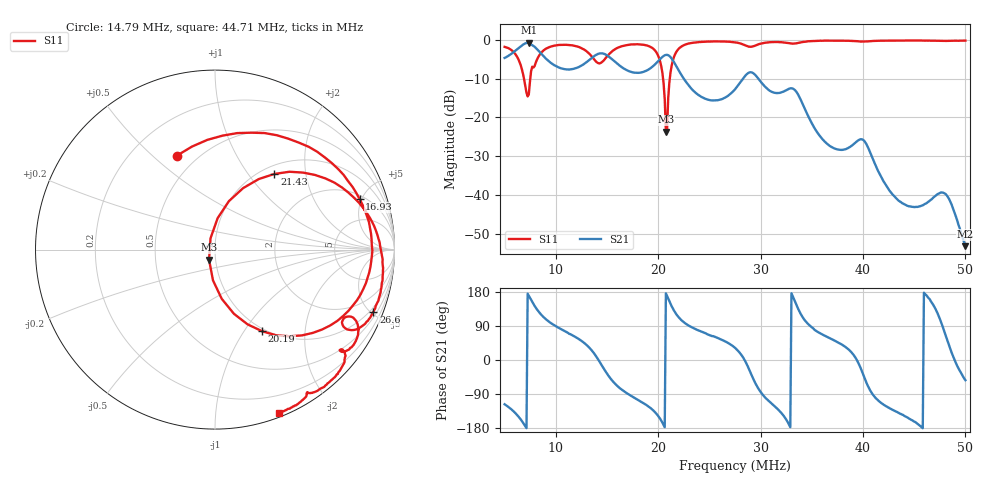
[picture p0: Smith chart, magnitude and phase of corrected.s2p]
! S11/S21 only; reverse parameters are placeholders. Device calibration unverified.
! [Saver CAL applied] C:\Users\aknya\MyProjects\rf-simulator\calibration2.cal | Ideal standards assumed | Input: NanoVNA F V2 profile | COM3 | 2026-09-08T11:04:40.8372414-04:00 | device calibration unverified
# HZ S RI R 50
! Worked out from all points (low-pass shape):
!   401 points, 5 MHz to 50 MHz, reference 50 ohm
!   highest |S21| = -0.71 dB at 7.362 MHz (marker M1); lowest = -53.2 dB at 50 MHz (marker M2)
!   |S21| within 3 dB of the highest: 5.608 MHz to 8.617 MHz (3.009 MHz wide, 42.3 % of centre); 14.07 MHz to 14.8 MHz (731.5 kHz wide, 5.07 % of centre)
!   lowest |S11| = -23.6 dB at 20.75 MHz (marker M3), VSWR 1.14, Z = 46.5 - j5.3 ohm
!   |S11| at or under -10 dB: 6.891 MHz to 7.507 MHz (616 kHz wide, 8.56 % of centre); 20.47 MHz to 21.13 MHz (658.5 kHz wide, 3.17 % of centre)
!   S12 and S22 are empty: the file has one direction only
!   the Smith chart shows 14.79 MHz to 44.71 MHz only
!   S11 on the Smith chart (normalised r, x): 14.79 MHz: 0.39, +0.60; 16.93 MHz: 2.31, +4.80; 20.19 MHz: 0.97, -1.21; 21.43 MHz: 1.14, +1.35; 26.6 MHz: 0.74, -5.15; 44.71 MHz: 0.03, -1.47
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5000000  0.7445 -0.3201  -0.2642 -0.5214  0 0  0 0
7362500  0.1974 0.00455  -0.9067 0.1635  0 0  0 0
9725000  0.8151 -0.1705  -0.0326 0.4814  0 0  0 0
1.25375e7  0.2473 -0.736  0.3014 0.3579  0 0  0 0
1.38875e7  -0.4747 -0.2384  0.6209 0.129  0 0  0 0
1.47875e7  -0.2119 0.5237  0.5811 -0.2988  0 0  0 0
1.6925e7  0.8055 0.2823  0.0184 -0.406  0 0  0 0
1.88375e7  0.8113 -0.2494  -0.1909 -0.3507  0 0  0 0
2.0075e7  0.3415 -0.4778  -0.4746 -0.2679  0 0  0 0
2.01875e7  0.2634 -0.4551  -0.5108 -0.2382  0 0  0 0
2.075e7  -0.0331 -0.0567  -0.637 0.0461  0 0  0 0
2.1425e7  0.3306 0.4215  -0.3929 0.3786  0 0  0 0
2.28875e7  0.8762 0.1526  -0.0105 0.2679  0 0  0 0
2.66e7  0.8823 -0.3489  0.1213 0.1357  0 0  0 0
2.75e7  0.8274 -0.4203  0.1946 0.1226  0 0  0 0
2.96375e7  0.7709 -0.3796  0.1201 -0.3115  0 0  0 0
3.50375e7  0.7094 -0.65  0.00646 0.0823  0 0  0 0
4.01e7  0.5126 -0.796  0.0361 -0.0349  0 0  0 0
4.2575e7  0.4447 -0.8681  -0.0069 -0.00918  0 0  0 0
4.47125e7  0.3579 -0.9119  -0.00657 -0.00265  0 0  0 0
4.7975e7  0.2342 -0.9387  0.00304 0.0101  0 0  0 0
5e7  0.1672 -0.9612  0.00131 -0.00176  0 0  0 0
